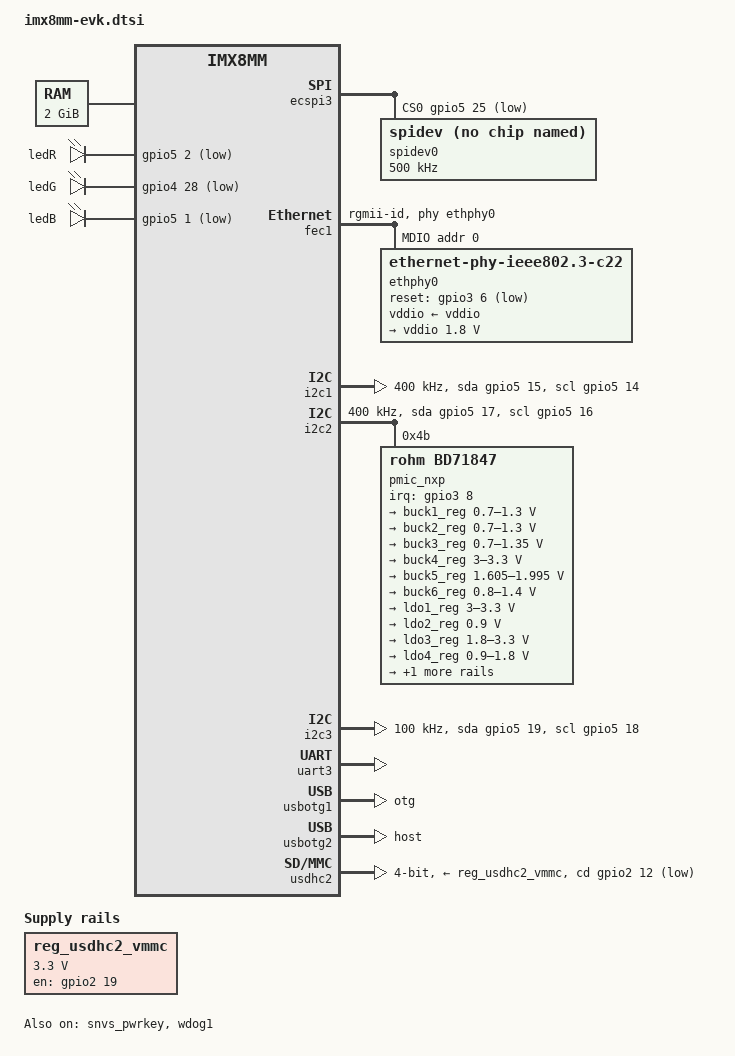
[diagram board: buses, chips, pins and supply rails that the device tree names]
// SPDX-License-Identifier: (GPL-2.0+ OR MIT)
/*
 * Copyright 2020,2022 NXP
 */

/dts-v1/;

#include <dt-bindings/phy/phy-imx8-pcie.h>
#include <dt-bindings/usb/pd.h>
#include "imx8mm.dtsi"

/ {
	chosen {
		stdout-path = &uart3;
	};

	memory@40000000 {
		device_type = "memory";
		reg = <0x0 0x40000000 0 0x80000000>;
	};

	leds {
		compatible = "gpio-leds";
		pinctrl-names = "default";
		pinctrl-0 = <&pinctrl_gpio_led>;

		ledR {
			label = "ledR";
			gpios = <&gpio5 2 GPIO_ACTIVE_LOW>;
			default-state = "off";
		};

		ledG {
			label = "ledG";
			gpios = <&gpio4 28 GPIO_ACTIVE_LOW>;
			default-state = "off";
		};

		ledB {
			label = "ledB";
			gpios = <&gpio5 1 GPIO_ACTIVE_LOW>;
			linux,default-trigger = "heartbeat";
			default-state = "off";
		};
	};

	reg_usdhc2_vmmc: regulator-usdhc2 {
		compatible = "regulator-fixed";
		pinctrl-names = "default";
		pinctrl-0 = <&pinctrl_reg_usdhc2_vmmc>;
		regulator-name = "VSD_3V3";
		regulator-min-microvolt = <3300000>;
		regulator-max-microvolt = <3300000>;
		gpio = <&gpio2 19 GPIO_ACTIVE_HIGH>;
		off-on-delay-us = <20000>;
		enable-active-high;
	};
};

&A53_0 {
	cpu-supply = <&buck2_reg>;
};

&A53_1 {
	cpu-supply = <&buck2_reg>;
};

&A53_2 {
	cpu-supply = <&buck2_reg>;
};

&A53_3 {
	cpu-supply = <&buck2_reg>;
};

/* Connected to ext. STM32H7, no driver in spl/u-boot, see X8H7 in kernel */
&ecspi3 {
	#address-cells = <1>;
	#size-cells = <0>;
	pinctrl-names = "default";
	pinctrl-0 = <&pinctrl_ecspi3 &pinctrl_ecspi3_cs>;
	num-cs = <1>;
	cs-gpios = <&gpio5 25 GPIO_ACTIVE_LOW>;
	status = "okay";

	spidev0: spi@0 {
		reg = <0>;
		compatible = "rohm,dh2228fv";
		spi-max-frequency = <500000>;
	};
};

&fec1 {
	pinctrl-names = "default";
	pinctrl-0 = <&pinctrl_fec1>;
	phy-mode = "rgmii-id";
	phy-handle = <&ethphy0>;
	fsl,magic-packet;
	status = "okay";

	mdio {
		#address-cells = <1>;
		#size-cells = <0>;

		ethphy0: ethernet-phy@0 {
			compatible = "ethernet-phy-ieee802.3-c22";
			reg = <0>;
			reset-gpios = <&gpio3 6 GPIO_ACTIVE_LOW>;
			reset-assert-us = <15000>;
			reset-deassert-us = <100000>;
			qca,disable-smarteee;
			vddio-supply = <&vddio>;

			vddio: vddio-regulator {
				regulator-min-microvolt = <1800000>;
				regulator-max-microvolt = <1800000>;
			};
		};
	};
};

&i2c1 {
	clock-frequency = <400000>;
	pinctrl-names = "default", "gpio";
	pinctrl-0 = <&pinctrl_i2c1>;
	pinctrl-1 = <&pinctrl_i2c1_gpio>;
	scl-gpios = <&gpio5 14 GPIO_ACTIVE_HIGH>;
	sda-gpios = <&gpio5 15 GPIO_ACTIVE_HIGH>;
	status = "okay";
};

&i2c2 {
	clock-frequency = <400000>;
	pinctrl-names = "default", "gpio";
	pinctrl-0 = <&pinctrl_i2c2>;
	pinctrl-1 = <&pinctrl_i2c2_gpio>;
	scl-gpios = <&gpio5 16 GPIO_ACTIVE_HIGH>;
	sda-gpios = <&gpio5 17 GPIO_ACTIVE_HIGH>;
	status = "okay";

	pmic_nxp: bd71847@4b {
		compatible = "rohm,bd71847";
		reg = <0x4b>;
		pinctrl-0 = <&pinctrl_pmic>;
		pinctrl-names = "default";
		interrupt-parent = <&gpio3>;
		interrupts = <8 IRQ_TYPE_LEVEL_LOW>;
		rohm,reset-snvs-powered;

		regulators {
			buck1_reg: BUCK1 {
				regulator-name = "BUCK1";
				regulator-min-microvolt = <700000>;
				regulator-max-microvolt = <1300000>;
				regulator-boot-on;
				regulator-always-on;
				regulator-ramp-delay = <1250>;
			};

			buck2_reg: BUCK2 {
				regulator-name = "BUCK2";
				regulator-min-microvolt = <700000>;
				regulator-max-microvolt = <1300000>;
				regulator-boot-on;
				regulator-always-on;
				regulator-ramp-delay = <1250>;
				rohm,dvs-run-voltage = <1000000>;
				rohm,dvs-idle-voltage = <900000>;
			};

			/* BUCK5 in Datasheet */
			buck3_reg: BUCK3 {
				regulator-name = "BUCK3";
				regulator-min-microvolt = <700000>;
				regulator-max-microvolt = <1350000>;
				regulator-boot-on;
				regulator-always-on;
			};

			/* BUCK6 in Datasheet */
			buck4_reg: BUCK4 {
				regulator-name = "BUCK4";
				regulator-min-microvolt = <3000000>;
				regulator-max-microvolt = <3300000>;
				regulator-boot-on;
				regulator-always-on;
			};

			/* BUCK7 in Datasheet */
			buck5_reg: BUCK5 {
				regulator-name = "BUCK5";
				regulator-min-microvolt = <1605000>;
				regulator-max-microvolt = <1995000>;
				regulator-boot-on;
				regulator-always-on;
			};

			/* BUCK8 in Datasheet */
			buck6_reg: BUCK6 {
				regulator-name = "BUCK6";
				regulator-min-microvolt = <800000>;
				regulator-max-microvolt = <1400000>;
				regulator-boot-on;
				regulator-always-on;
			};

			ldo1_reg: LDO1 {
				regulator-name = "LDO1";
				regulator-min-microvolt = <3000000>;
				regulator-max-microvolt = <3300000>;
				regulator-boot-on;
				regulator-always-on;
			};

			ldo2_reg: LDO2 {
				regulator-name = "LDO2";
				regulator-min-microvolt = <900000>;
				regulator-max-microvolt = <900000>;
				regulator-boot-on;
				regulator-always-on;
			};

			ldo3_reg: LDO3 {
				regulator-name = "LDO3";
				regulator-min-microvolt = <1800000>;
				regulator-max-microvolt = <3300000>;
				regulator-boot-on;
				regulator-always-on;
			};

			ldo4_reg: LDO4 {
				regulator-name = "LDO4";
				regulator-min-microvolt = <900000>;
				regulator-max-microvolt = <1800000>;
				regulator-boot-on;
				regulator-always-on;
			};

			/* @TODO: supplies anx7625, handled in spl.c */
			/*ldo5_reg: LDO5 {
				regulator-name = "LDO5";
				regulator-min-microvolt = <3000000>;
				regulator-min-microvolt = <3000000>;
				regulator-boot-on;
				regulator-always-on;
			};*/

			ldo6_reg: LDO6 {
				regulator-name = "LDO6";
				regulator-min-microvolt = <900000>;
				regulator-max-microvolt = <1800000>;
				regulator-boot-on;
				regulator-always-on;
			};
		};
	};
};

&i2c3 {
	clock-frequency = <100000>;
	pinctrl-names = "default", "gpio";
	pinctrl-0 = <&pinctrl_i2c3>;
	pinctrl-1 = <&pinctrl_i2c3_gpio>;
	scl-gpios = <&gpio5 18 GPIO_ACTIVE_HIGH>;
	sda-gpios = <&gpio5 19 GPIO_ACTIVE_HIGH>;
	status = "okay";
};

&snvs_pwrkey {
	status = "okay";
};

&uart3 { /* console */
	pinctrl-names = "default";
	pinctrl-0 = <&pinctrl_uart3>;
	status = "okay";
};

/* SoM USBC Port Connector J3 */
&usbotg1 {
	dr_mode = "otg";
	hnp-disable;
	srp-disable;
	adp-disable;
	usb-role-switch;
	disable-over-current;
	samsung,picophy-pre-emp-curr-control = <3>;
	samsung,picophy-dc-vol-level-adjust = <7>;
	status = "okay";

	/* @TODO: connector should go to anx7625 */
	/*port {
		usb1_drd_sw: endpoint {
			remote-endpoint = <&typec1_dr_sw>;
		};
	};*/
};

&usbotg2 {
	dr_mode = "host";
	disable-over-current;
	samsung,picophy-pre-emp-curr-control = <3>;
	samsung,picophy-dc-vol-level-adjust = <7>;
	status = "okay";
};

&usdhc2 {
	assigned-clocks = <&clk IMX8MM_CLK_USDHC2>;
	assigned-clock-rates = <200000000>;
	pinctrl-names = "default", "state_100mhz", "state_200mhz";
	pinctrl-0 = <&pinctrl_usdhc2>, <&pinctrl_usdhc2_gpio>;
	pinctrl-1 = <&pinctrl_usdhc2_100mhz>, <&pinctrl_usdhc2_gpio>;
	pinctrl-2 = <&pinctrl_usdhc2_200mhz>, <&pinctrl_usdhc2_gpio>;
	cd-gpios = <&gpio2 12 GPIO_ACTIVE_LOW>;
	bus-width = <4>;
	vmmc-supply = <&reg_usdhc2_vmmc>;
	status = "okay";
};

&wdog1 {
	pinctrl-names = "default";
	pinctrl-0 = <&pinctrl_wdog>;
	fsl,ext-reset-output;
	status = "okay";
};

&iomuxc {
	pinctrl-names = "default";
	pinctrl-0 = <&pinctrl_hog_1>, <&pinctrl_hog_2>;

	pinctrl_ecspi3: ecspi3grp {
		fsl,pins = <
			MX8MM_IOMUXC_UART1_RXD_ECSPI3_SCLK		0x82
			MX8MM_IOMUXC_UART1_TXD_ECSPI3_MOSI		0x82
			MX8MM_IOMUXC_UART2_RXD_ECSPI3_MISO		0x82
		>;
	};

	pinctrl_ecspi3_cs: ecspi3csgrp {
		fsl,pins = <
			/* MX8MM_IOMUXC_UART2_TXD_ECSPI3_SS0		0x40000*/
			MX8MM_IOMUXC_UART2_TXD_GPIO5_IO25		0x40000
		>;
	};

	pinctrl_fec1: fec1grp {
		fsl,pins = <
			MX8MM_IOMUXC_ENET_MDC_ENET1_MDC			0x3
			MX8MM_IOMUXC_ENET_MDIO_ENET1_MDIO		0x3
			MX8MM_IOMUXC_ENET_TD3_ENET1_RGMII_TD3		0x1f
			MX8MM_IOMUXC_ENET_TD2_ENET1_RGMII_TD2		0x1f
			MX8MM_IOMUXC_ENET_TD1_ENET1_RGMII_TD1		0x1f
			MX8MM_IOMUXC_ENET_TD0_ENET1_RGMII_TD0		0x1f
			MX8MM_IOMUXC_ENET_RD3_ENET1_RGMII_RD3		0x91
			MX8MM_IOMUXC_ENET_RD2_ENET1_RGMII_RD2		0x91
			MX8MM_IOMUXC_ENET_RD1_ENET1_RGMII_RD1		0x91
			MX8MM_IOMUXC_ENET_RD0_ENET1_RGMII_RD0		0x91
			MX8MM_IOMUXC_ENET_TXC_ENET1_RGMII_TXC		0x1f
			MX8MM_IOMUXC_ENET_RXC_ENET1_RGMII_RXC		0x91
			MX8MM_IOMUXC_ENET_RX_CTL_ENET1_RGMII_RX_CTL	0x91
			MX8MM_IOMUXC_ENET_TX_CTL_ENET1_RGMII_TX_CTL	0x1f
			MX8MM_IOMUXC_NAND_DATA00_GPIO3_IO6		0x16 /* ENET_nRST */
			MX8MM_IOMUXC_NAND_DATA01_GPIO3_IO7		0x41 /* ENET_nINT */
		>;
	};

	pinctrl_gpio_led: gpioledgrp {
		fsl,pins = <
			MX8MM_IOMUXC_SAI3_MCLK_GPIO5_IO2	0x19
			MX8MM_IOMUXC_SAI3_RXFS_GPIO4_IO28	0x19
			MX8MM_IOMUXC_SAI3_TXD_GPIO5_IO1	0x19
		>;
	};

	pinctrl_i2c1: i2c1grp {
		fsl,pins = <
			MX8MM_IOMUXC_I2C1_SCL_I2C1_SCL			0x400001c3
			MX8MM_IOMUXC_I2C1_SDA_I2C1_SDA			0x400001c3
		>;
	};

	pinctrl_i2c2: i2c2grp {
		fsl,pins = <
			MX8MM_IOMUXC_I2C2_SCL_I2C2_SCL			0x400001c3
			MX8MM_IOMUXC_I2C2_SDA_I2C2_SDA			0x400001c3
		>;
	};

	pinctrl_i2c3: i2c3grp {
		fsl,pins = <
			MX8MM_IOMUXC_I2C3_SCL_I2C3_SCL			0x400001c3
			MX8MM_IOMUXC_I2C3_SDA_I2C3_SDA			0x400001c3
		>;
	};

	pinctrl_i2c1_gpio: i2c1-gpiogrp {
		fsl,pins = <
			MX8MM_IOMUXC_I2C1_SCL_GPIO5_IO14        		0x1c3
			MX8MM_IOMUXC_I2C1_SDA_GPIO5_IO15        	0x1c3
		>;
	};

	pinctrl_i2c2_gpio: i2c2-gpiogrp {
		fsl,pins = <
			MX8MM_IOMUXC_I2C2_SCL_GPIO5_IO16        		0x1c3
			MX8MM_IOMUXC_I2C2_SDA_GPIO5_IO17        	0x1c3
		>;
	};

	pinctrl_i2c3_gpio: i2c3-gpiogrp {
		fsl,pins = <
			MX8MM_IOMUXC_I2C3_SCL_GPIO5_IO18        		0x1c3
			MX8MM_IOMUXC_I2C3_SDA_GPIO5_IO19        	0x1c3
		>;
	};

	pinctrl_pmic: pmicirqgrp {
		fsl,pins = <
			MX8MM_IOMUXC_NAND_DATA02_GPIO3_IO8		0x141
		>;
	};

	pinctrl_reg_usdhc2_vmmc: regusdhc2vmmcgrp {
		fsl,pins = <
			MX8MM_IOMUXC_SD2_RESET_B_GPIO2_IO19	0x41
		>;
	};

	pinctrl_uart3: uart3grp {
		fsl,pins = <
			MX8MM_IOMUXC_UART3_RXD_UART3_DCE_RX	0x140
			MX8MM_IOMUXC_UART3_TXD_UART3_DCE_TX	0x140
		>;
	};

	pinctrl_usdhc2_gpio: usdhc2grpgpiogrp {
		fsl,pins = <
			MX8MM_IOMUXC_SD2_CD_B_GPIO2_IO12	0x1c4
		>;
	};

	pinctrl_usdhc2: usdhc2grp {
		fsl,pins = <
			MX8MM_IOMUXC_SD2_CLK_USDHC2_CLK		0x190
			MX8MM_IOMUXC_SD2_CMD_USDHC2_CMD		0x1d0
			MX8MM_IOMUXC_SD2_DATA0_USDHC2_DATA0	0x1d0
			MX8MM_IOMUXC_SD2_DATA1_USDHC2_DATA1	0x1d0
			MX8MM_IOMUXC_SD2_DATA2_USDHC2_DATA2	0x1d0
			MX8MM_IOMUXC_SD2_DATA3_USDHC2_DATA3	0x1d0
			MX8MM_IOMUXC_GPIO1_IO04_USDHC2_VSELECT	0x1d0
		>;
	};

	pinctrl_usdhc2_100mhz: usdhc2-100mhzgrp {
		fsl,pins = <
			MX8MM_IOMUXC_SD2_CLK_USDHC2_CLK		0x194
			MX8MM_IOMUXC_SD2_CMD_USDHC2_CMD		0x1d4
			MX8MM_IOMUXC_SD2_DATA0_USDHC2_DATA0	0x1d4
			MX8MM_IOMUXC_SD2_DATA1_USDHC2_DATA1	0x1d4
			MX8MM_IOMUXC_SD2_DATA2_USDHC2_DATA2	0x1d4
			MX8MM_IOMUXC_SD2_DATA3_USDHC2_DATA3	0x1d4
			MX8MM_IOMUXC_GPIO1_IO04_USDHC2_VSELECT	0x1d0
		>;
	};

	pinctrl_usdhc2_200mhz: usdhc2-200mhzgrp {
		fsl,pins = <
			MX8MM_IOMUXC_SD2_CLK_USDHC2_CLK		0x196
			MX8MM_IOMUXC_SD2_CMD_USDHC2_CMD		0x1d6
			MX8MM_IOMUXC_SD2_DATA0_USDHC2_DATA0	0x1d6
			MX8MM_IOMUXC_SD2_DATA1_USDHC2_DATA1	0x1d6
			MX8MM_IOMUXC_SD2_DATA2_USDHC2_DATA2	0x1d6
			MX8MM_IOMUXC_SD2_DATA3_USDHC2_DATA3	0x1d6
			MX8MM_IOMUXC_GPIO1_IO04_USDHC2_VSELECT	0x1d0
		>;
	};

	pinctrl_wdog: wdoggrp {
		fsl,pins = <
			MX8MM_IOMUXC_GPIO1_IO02_WDOG1_WDOG_B	0x166
		>;
	};

	/* Some of these pins are leaved configured by internal ROM code */
	/* NOTE: ext. STM32H7 pins, see also ecspi3 */
	pinctrl_hog_1: hoggrp-1 {
		fsl,pins = <
			MX8MM_IOMUXC_GPIO1_IO10_GPIO1_IO10		0x110 /* NRST_STM32 Pull Down */
			MX8MM_IOMUXC_GPIO1_IO11_GPIO1_IO11		0x110 /* BOOT0_STM32 Pull Down */
			MX8MM_IOMUXC_GPIO1_IO08_GPIO1_IO8		0x110 /* SWDIO_STM32 Pull Down */
			MX8MM_IOMUXC_GPIO1_IO15_GPIO1_IO15		0x110 /* SWCLK_STM32 Pull Down */
			MX8MM_IOMUXC_GPIO1_IO07_GPIO1_IO7		0x110 /* PA0_STM32 Pull Down M4 led red */
			MX8MM_IOMUXC_GPIO1_IO09_GPIO1_IO9		0x151 /* PC1_STM32 Pull Up IRQ */
		>;
	};

	/* @TODO: anx7625 pins, need proper u-boot driver impl. */
	pinctrl_hog_2: hoggrp-2 {
		fsl,pins = <
			MX8MM_IOMUXC_SAI2_TXC_GPIO4_IO25		0x19 /* POWER_EN */
			MX8MM_IOMUXC_SAI2_MCLK_GPIO4_IO27		0x51 /* CABLE_DET */
			MX8MM_IOMUXC_SAI1_MCLK_GPIO4_IO20		0x151 /* ALERT_N */
			MX8MM_IOMUXC_SAI2_TXD0_GPIO4_IO26		0x19 /* RESET_N */
			MX8MM_IOMUXC_SAI1_TXD1_GPIO4_IO13		0x19 /* VBUS_CTL */
			MX8MM_IOMUXC_SAI1_RXFS_GPIO4_IO0		0x19 /* EN_I2S */
		>;
	};
};
